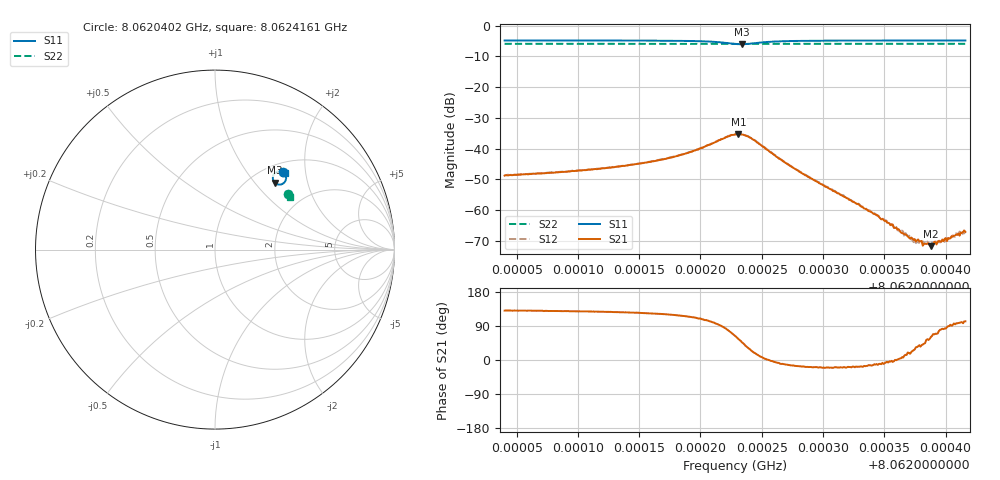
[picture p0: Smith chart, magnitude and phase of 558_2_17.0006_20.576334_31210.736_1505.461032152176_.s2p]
#  HZ  S  RI  R  50.00
! Rohde & Schwarz Vector Network Analyzer
! Rohde-Schwarz,ZNB20-2Port,1311601062101988,3.16
! Created: UTC 3/20/2024, 11:17:05 PM
! freq[Hz]  re:S11  im:S11  re:S21  im:S21  re:S12  im:S12  re:S22  im:S22
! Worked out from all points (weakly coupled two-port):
!   401 points, 8.0620402 GHz to 8.0624161 GHz, reference 50 ohm
!   highest |S21| = -35.22 dB at 8.062231 GHz (marker M1); lowest = -71.6 dB at 8.062388 GHz (marker M2)
!   lowest |S11| = -6.0 dB at 8.0622338 GHz (marker M3), VSWR 3.00, Z = 64.2 + j63.9 ohm
!   |S11| at or under -10 dB: nowhere
!   |S22| runs from -5.9 to -5.9 dB; largest |S21 - S12| = 0.0012
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8.06204018e9  0.3797 0.4331  -0.00237 0.00278  -0.00225 0.00297  0.4042 0.3091
8.06210315e9  0.3852 0.4273  -0.00274 0.00347  -0.00253 0.00365  0.4065 0.3058
8.06214451e9  0.3902 0.4211  -0.00317 0.0045  -0.00287 0.00473  0.408 0.3037
8.06216613e9  0.3929 0.4156  -0.00343 0.00554  -0.00312 0.00581  0.4088 0.3022
8.06219339e9  0.3965 0.4017  -0.00349 0.00833  -0.00303 0.00859  0.4097 0.3001
8.06221407e9  0.389 0.377  -0.000991 0.0133  -0.000233 0.0135  0.4097 0.2983
8.06222816e9  0.3525 0.3627  0.00753 0.0153  0.00842 0.015  0.4085 0.2975
8.06223098e9  0.342 0.3663  0.00988 0.0143  0.0108 0.0138  0.408 0.2977
8.0622338e9  0.3328 0.3731  0.0116 0.0124  0.0125 0.0119  0.4078 0.2978
8.0622432e9  0.3227 0.4054  0.0132 0.00488  0.0135 0.00413  0.4081 0.2991
8.06226858e9  0.3528 0.4359  0.00592 -0.00118  0.00591 -0.00153  0.4107 0.2989
8.06229114e9  0.3671 0.4358  0.00305 -0.00106  0.00302 -0.00126  0.412 0.2977
8.06234002e9  0.3797 0.431  0.000888 -0.00023  0.000896 -0.000294  0.4142 0.2948
8.06235411e9  0.3821 0.4297  0.000612 -3.57e-05  0.000602 -8.81e-05  0.4148 0.2942
8.06236069e9  0.3829 0.4293  0.000488 1.19e-05  0.000466 -6.42e-05  0.4151 0.2938
8.06236915e9  0.3839 0.4286  0.000351 0.000127  0.000378 6.59e-05  0.4154 0.2932
8.06237385e9  0.3843 0.428  0.000296 0.000143  0.000272 0.000132  0.4155 0.2929
8.06238325e9  0.3856 0.4274  0.000203 0.0002  0.000238 0.00019  0.4158 0.2925
8.06238795e9  0.386 0.4272  0.000129 0.000229  0.000121 0.00023  0.416 0.2922
8.06239923e9  0.3872 0.4262  4.09e-05 0.00034  4.99e-05 0.000301  0.4165 0.2917
8.06241051e9  0.3883 0.4254  -5.44e-05 0.000412  -5.52e-05 0.000422  0.4168 0.2912
8.06241615e9  0.3887 0.425  -9.36e-05 0.000435  -9.2e-05 0.000445  0.417 0.2907
